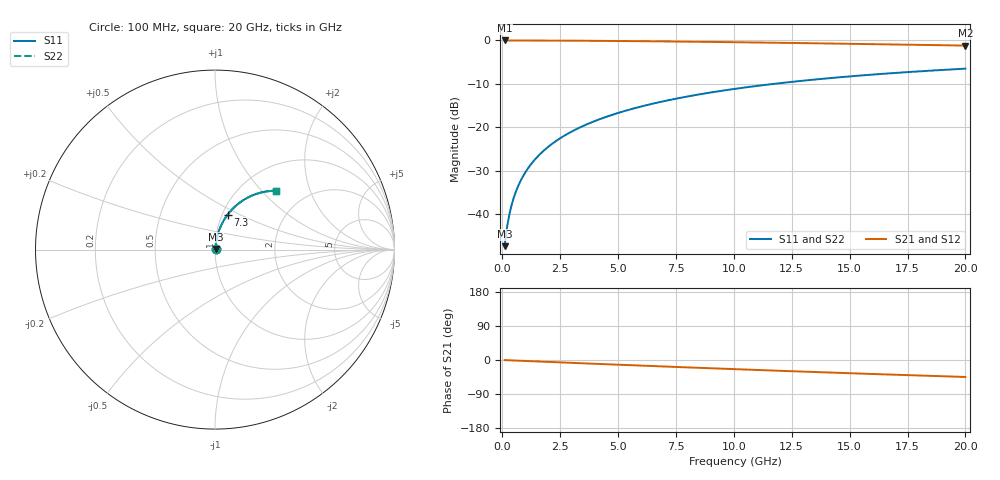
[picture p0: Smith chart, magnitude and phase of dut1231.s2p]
! Touchstone file exported from HFSS 2026.1.0
!  File:  C:/ffzhzh/LocalFiles/Ansys_Project_Files/temp_train_BSMRDL_1231_1783176992_43440.aedt
!  Generated:  10:57:54 PM Jul  4, 2026
!  Design:  BSMRDL
!  Project:  temp_train_BSMRDL_1231_1783176992_43440
! Variables:
!  h_bsmrdl = 4.54um
!  h_ox = 20um
!  h_rdl = 5um
!  h_sub = 80um
!  h_tmrdl = 5um
!  h_tsv = 80um
!  h_via = 3um
!  l_bsmrdl = 610.8um
!  l_sub = 1010.8um
!  l_tmrdl = 200um
!  m_sub = 200um
!  pitch = 55.22um
!  r_tsv = 6um
!  s_tmrdl = 10um
!  w_bsmrdl = 17.06um
!  w_sub = 500um
!  w_tmrdl = 12um
!  x_tsv_center1 = 206um
!  x_tsv_center2 = 833.86um
!  x_tsv_center3 = 1045.86um
!  x_tsv_center4 = 1673.72um
!  x_tsv_center5 = 1885.72um
!  x_tsv_center6 = 2513.58um
# GHz S MA R 50.000000
! Terminal data exported
! Port[1] = BSM_RDL1_1_T1
! Port[2] = BSM_RDL1_1_T2
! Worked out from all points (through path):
!   200 points, 100 MHz to 20 GHz, reference 50 ohm
!   highest |S21| = -0.03 dB at 100 MHz (marker M1); lowest = -1.2 dB at 20 GHz (marker M2)
!   group delay of S21, straight-line fit = 6.23 ps
!   lowest |S11| = -47.4 dB at 100 MHz (marker M3), VSWR 1.01, Z = 50.3 + j0.316 ohm
!   |S11| at or under -10 dB: start of sweep to 11.75 GHz
!   |S22| runs from -47.4 to -6.5 dB; largest |S21 - S12| = 2.6e-15
!   S11 on the Smith chart (normalised r, x): 100 MHz: 1.01, +0.01; 7.3 GHz: 1.06, +0.43; 20 GHz: 1.43, +1.21
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0.1  0.004289 47.2  0.9971 -0.3  0.9971 -0.3  0.004289 47.2
! Gamma 0 0 0 0
! Port Impedance 50 0 50 0
0.2  0.00694 63.8  0.997 -0.5  0.997 -0.5  0.00694 63.8
0.3  0.009801 70.7  0.9969 -0.8  0.9969 -0.8  0.009801 70.7
0.4  0.01271 74.4  0.9967 -1.0  0.9967 -1.0  0.01271 74.4
0.5  0.01564 76.7  0.9966 -1.3  0.9966 -1.3  0.01564 76.7
0.7  0.02153 79.2  0.9964 -1.8  0.9964 -1.8  0.02153 79.2
0.8  0.02449 80.0  0.9963 -2.0  0.9963 -2.0  0.02449 80.0
1  0.03042 80.9  0.9961 -2.5  0.9961 -2.5  0.03042 80.9
1.4  0.04231 81.5  0.9954 -3.5  0.9954 -3.5  0.04231 81.5
1.7  0.05121 81.4  0.9949 -4.3  0.9949 -4.3  0.05121 81.4
2  0.06008 81.2  0.9942 -5.0  0.9942 -5.0  0.06008 81.2
2.7  0.08063 80.1  0.9923 -6.8  0.9923 -6.8  0.08063 80.1
3.5  0.1038 78.5  0.9896 -8.8  0.9896 -8.8  0.1038 78.5
4.2  0.1237 77.0  0.9868 -10.5  0.9868 -10.5  0.1237 77.0
5  0.1461 75.2  0.9832 -12.4  0.9832 -12.4  0.1461 75.2
6.8  0.1949 71.1  0.9736 -16.7  0.9736 -16.7  0.1949 71.1
7.3  0.2081 70.0  0.9706 -17.9  0.9706 -17.9  0.208 70.0
8.6  0.2413 67.1  0.9622 -20.9  0.9622 -20.9  0.2413 67.1
10.1  0.278 63.8  0.9517 -24.3  0.9517 -24.3  0.278 63.9
13.4  0.3523 56.8  0.926 -31.6  0.926 -31.6  0.3523 56.9
16.7  0.417 50.2  0.8984 -38.4  0.8984 -38.4  0.417 50.2
20  0.4724 43.9  0.8706 -44.8  0.8706 -44.8  0.4724 44.0
